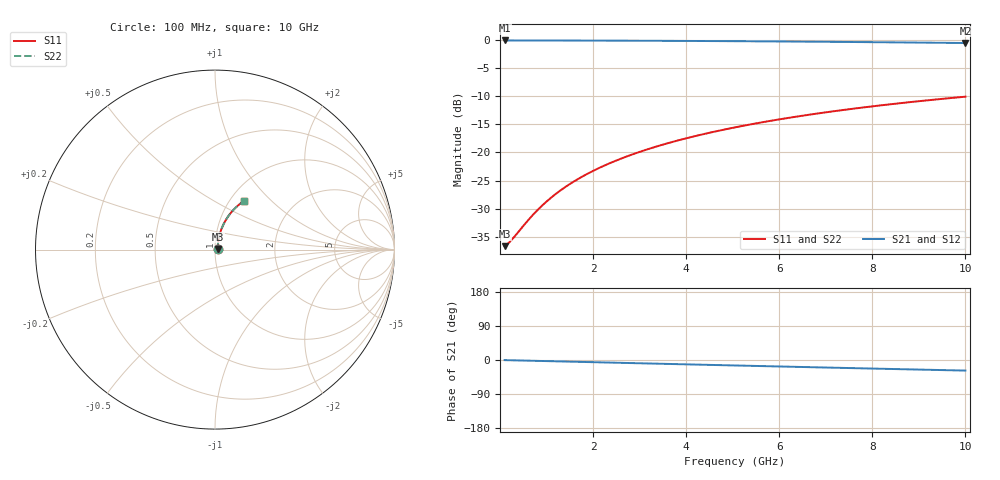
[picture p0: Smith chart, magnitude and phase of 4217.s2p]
# Hz S RI R 50.00
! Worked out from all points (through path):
!   100 points, 100 MHz to 10 GHz, reference 50 ohm
!   highest |S21| = -0.13 dB at 100 MHz (marker M1); lowest = -0.6 dB at 10 GHz (marker M2)
!   group delay of S21, straight-line fit = 7.77 ps
!   lowest |S11| = -36.6 dB at 100 MHz (marker M3), VSWR 1.03, Z = 51.5 + j0.338 ohm
!   |S11| at or under -10 dB: start of sweep to end of sweep
!   |S22| runs from -36.6 to -10.1 dB; largest |S21 - S12| = 0
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1e8  0.0144 0.00329  0.9856 -0.00496  0.9856 -0.00496  0.0144 0.00329
2e8  0.0145 0.00657  0.9855 -0.00992  0.9855 -0.00992  0.0145 0.00657
3e8  0.0147 0.00985  0.9853 -0.0149  0.9853 -0.0149  0.0147 0.00985
6e8  0.0153 0.0197  0.9847 -0.0297  0.9847 -0.0297  0.0153 0.0197
7e8  0.0155 0.023  0.9844 -0.0347  0.9844 -0.0347  0.0155 0.023
8e8  0.0158 0.0262  0.9841 -0.0396  0.9841 -0.0396  0.0158 0.0262
1e9  0.0164 0.0328  0.9834 -0.0495  0.9834 -0.0495  0.0164 0.0328
1.2e9  0.0172 0.0393  0.9826 -0.0594  0.9826 -0.0594  0.0172 0.0393
1.4e9  0.0181 0.0458  0.9816 -0.0692  0.9816 -0.0692  0.0181 0.0458
1.6e9  0.0192 0.0522  0.9805 -0.079  0.9805 -0.079  0.0192 0.0522
1.8e9  0.0203 0.0587  0.9792 -0.0888  0.9792 -0.0888  0.0203 0.0587
2.1e9  0.0223 0.0683  0.9771 -0.1035  0.9771 -0.1035  0.0223 0.0683
2.5e9  0.0253 0.081  0.9737 -0.1229  0.9737 -0.1229  0.0253 0.081
2.9e9  0.0289 0.0935  0.9699 -0.1421  0.9699 -0.1421  0.0289 0.0935
3.4e9  0.034 0.1089  0.9643 -0.1659  0.9643 -0.1659  0.034 0.1089
4.2e9  0.0437 0.1328  0.9537 -0.2033  0.9537 -0.2033  0.0437 0.1328
5.1e9  0.0568 0.1586  0.9394 -0.2442  0.9394 -0.2442  0.0568 0.1586
5.9e9  0.0701 0.1802  0.9248 -0.2794  0.9248 -0.2794  0.0701 0.1802
6.7e9  0.085 0.2006  0.9085 -0.3133  0.9085 -0.3133  0.085 0.2006
7.5e9  0.1012 0.2196  0.8906 -0.3458  0.8906 -0.3458  0.1012 0.2196
8.4e9  0.1209 0.2391  0.8688 -0.3807  0.8688 -0.3807  0.1209 0.2391
1e10  0.1589 0.269  0.8265 -0.4378  0.8265 -0.4378  0.1589 0.269
